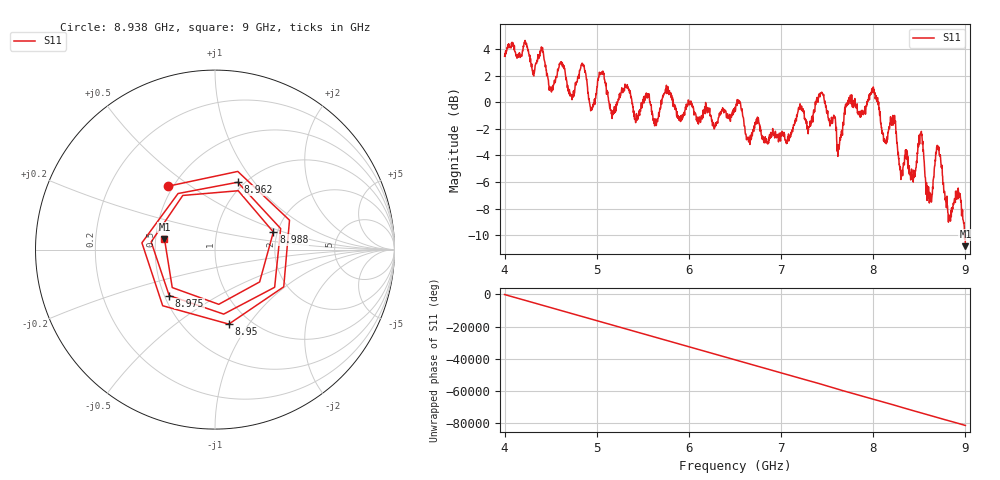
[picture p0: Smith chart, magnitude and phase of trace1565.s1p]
! Created with skrf 1.8.0 (http://scikit-rf.org).
# Hz S RI R 50.0
!freq ReS11 ImS11
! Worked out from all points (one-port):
!   1601 points, 4 GHz to 9 GHz, reference 50 ohm
!   lowest |S11| = -10.8 dB at 9 GHz (marker M1), VSWR 1.81, Z = 27.9 + j3.61 ohm
!   |S11| at or under -10 dB: 8.990125 GHz to 8.996459 GHz (6.334 MHz wide, 0.0704 % of centre); 8.997221 GHz to end of sweep
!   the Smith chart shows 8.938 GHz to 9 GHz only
!   S11 on the Smith chart (normalised r, x): 8.938 GHz: 0.47, +0.41; 8.95 GHz: 0.80, -0.81; 8.962 GHz: 0.93, +0.83; 8.975 GHz: 0.53, -0.31; 8.988 GHz: 1.90, +0.42; 9 GHz: 0.56, +0.07
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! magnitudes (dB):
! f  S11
! 4 GHz  3.5
! 4.403 GHz  4.1
! 4.503 GHz  0.9
! 4.625 GHz  3.0
! 4.734 GHz  0.5
! 4.853 GHz  2.7
! 4.947 GHz  -0.6
! 5.05 GHz  2.2
! 5.25 GHz  0.7
! 5.875 GHz  -1.1
! 6.5 GHz  -0.4
! 6.647 GHz  -3.0
! 7.125 GHz  -2.2
! 7.438 GHz  0.7
! 7.628 GHz  -3.5
! 7.75 GHz  0.5
! 8.009 GHz  0.9
! 8.375 GHz  -4.9
! 8.512 GHz  -2.4
! 8.606 GHz  -6.8
! 8.703 GHz  -3.5
! 8.828 GHz  -8.8
! 8.938 GHz  -7.1
! 8.95 GHz  -7.5
! 8.962 GHz  -8.0
! 8.975 GHz  -8.8
! 8.988 GHz  -9.4
! 9 GHz  -10.8
